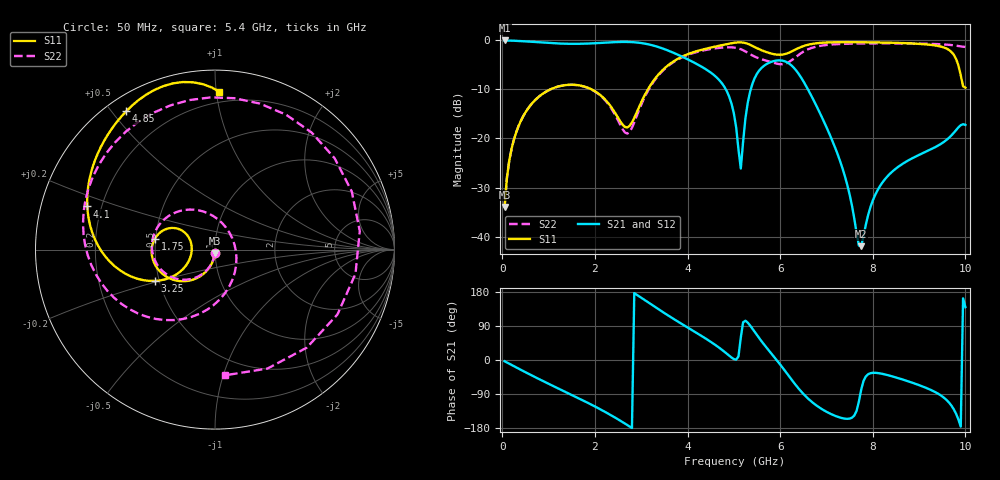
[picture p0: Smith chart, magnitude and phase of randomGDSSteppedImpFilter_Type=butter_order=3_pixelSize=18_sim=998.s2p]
! freq	dB(S11)	phase(S11)	dB(S12)	phase(S12)
!  dB(S21)	phase(S21)	dB(S22)	phase(S22)
!S-par simulation data
#  GHz  S  DB  R 50
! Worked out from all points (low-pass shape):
!   200 points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, 50 MHz to 10 GHz, reference 50 ohm
!   highest |S21| = -0.01 dB at 50 MHz (marker M1); lowest = -42.0 dB at 7.75 GHz (marker M2)
!   |S21| within 3 dB of the highest: start of sweep to 3.813 GHz
!   lowest |S11| = -34.0 dB at 50 MHz (marker M3), VSWR 1.04, Z = 49.9 - j2 ohm
!   |S11| at or under -10 dB: start of sweep to 1.036 GHz; 1.93 GHz to 3.144 GHz (1.215 GHz wide, 47.9 % of centre)
!   |S22| runs from -33.9 to -0.6 dB; largest |S21 - S12| = 0
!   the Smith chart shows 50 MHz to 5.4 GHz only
!   S11 on the Smith chart (normalised r, x): 50 MHz: 1.00, -0.04; 1.75 GHz: 0.49, +0.07; 3.25 GHz: 0.47, -0.19; 4.1 GHz: 0.15, +0.16; 4.85 GHz: 0.06, +0.55; 5.4 GHz: 0.13, +1.02
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0.05  -33.95 -92.9  -0.01 -3.3  -0.01 -3.3  -33.95 -93.0
0.5  -14.68 -121.8  -0.20 -32.2  -0.20 -32.2  -14.68 -123.6
1.75  -9.36 169.9  -0.67 -107.1  -0.67 -107.1  -9.38 155.5
2.7  -17.75 -178.5  -0.31 -171.7  -0.31 -171.7  -19.00 14.4
3.25  -8.44 -152.5  -1.02 144.0  -1.02 144.0  -8.67 -103.7
3.4  -6.66 -159.6  -1.44 131.9  -1.44 131.9  -6.84 -120.3
4.1  -2.48 161.3  -4.32 78.5  -4.32 78.5  -2.65 173.5
4.5  -1.46 140.6  -6.55 48.1  -6.55 48.1  -1.76 133.0
4.85  -0.76 122.6  -10.40 16.4  -10.40 16.4  -1.41 82.7
5.05  -0.43 110.9  -17.73 0.9  -17.73 0.9  -1.53 37.4
5.15  -0.40 104.2  -26.13 59.0  -26.13 59.0  -1.80 7.3
5.4  -1.11 88.4  -8.88 82.7  -8.88 82.7  -3.07 -85.4
5.65  -2.20 79.7  -5.18 41.2  -5.18 41.2  -3.99 -171.4
5.95  -2.91 75.3  -4.08 -4.0  -4.08 -4.0  -4.78 97.5
6.3  -2.01 71.4  -5.62 -60.3  -5.62 -60.3  -3.66 -20.5
6.7  -0.69 53.5  -11.78 -112.2  -11.78 -112.2  -1.47 -110.6
7.15  -0.38 31.8  -20.99 -145.5  -20.99 -145.5  -0.81 -162.1
7.75  -0.37 5.2  -41.97 -78.1  -41.97 -78.1  -0.62 156.9
8.35  -0.46 -21.2  -27.40 -40.8  -27.40 -40.8  -0.60 126.0
9.55  -1.49 -94.8  -20.60 -100.9  -20.60 -100.9  -0.83 68.7
9.85  -5.13 -162.3  -17.73 -157.3  -17.73 -157.3  -1.15 52.6
10  -9.64 74.7  -17.23 139.6  -17.23 139.6  -1.33 44.8
